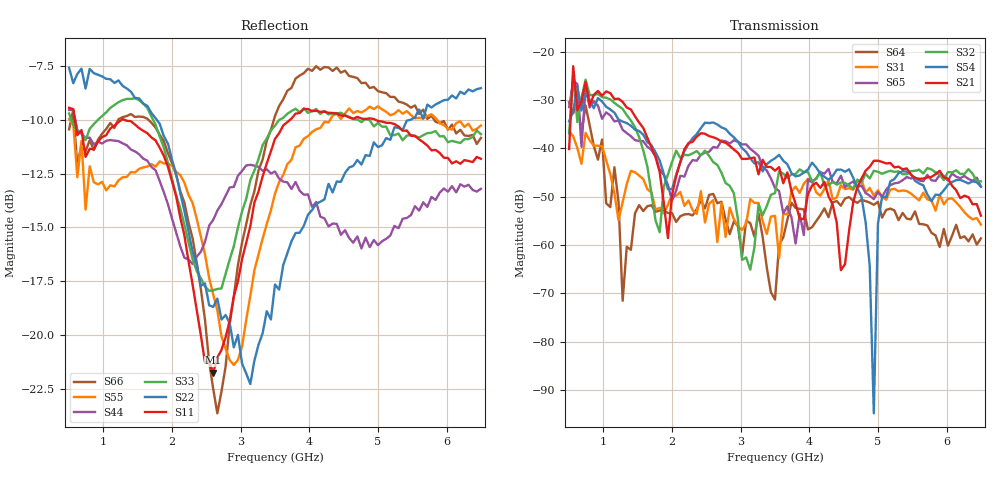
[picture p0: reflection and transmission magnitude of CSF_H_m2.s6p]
!Keysight Technologies,M9804A,MY58100912,A.14.10.03
!Date: Thursday, April 27, 2023 10:28:33
!Correction: S11(C  6-Port  )
!S12(C  6-Port  )
!S13(C  6-Port  )
!S14(C  6-Port  )
!S15(C  6-Port  )
!S16(C  6-Port  )
!S21(C  6-Port  )
!S22(C  6-Port  )
!S23(C  6-Port  )
!S24(C  6-Port  )
!S25(C  6-Port  )
!S26(C  6-Port  )
!S31(C  6-Port  )
!S32(C  6-Port  )
!S33(C  6-Port  )
!S34(C  6-Port  )
!S35(C  6-Port  )
!S36(C  6-Port  )
!S41(C  6-Port  )
!S42(C  6-Port  )
!S43(C  6-Port  )
!S44(C  6-Port  )
!S45(C  6-Port  )
!S46(C  6-Port  )
!S51(C  6-Port  )
!S52(C  6-Port  )
!S53(C  6-Port  )
!S54(C  6-Port  )
!S55(C  6-Port  )
!S56(C  6-Port  )
!S61(C  6-Port  )
!S62(C  6-Port  )
!S63(C  6-Port  )
!S64(C  6-Port  )
!S65(C  6-Port  )
!S66(C  6-Port  )
!S6P File: Measurement: :
# Hz S  RI  R 50
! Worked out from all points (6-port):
!   101 points, 500 MHz to 6.5 GHz, reference 50 ohm
!   strongest paths, dB at 500 MHz, 2 GHz, 3.5 GHz, 5 GHz, 6.5 GHz:
!     S21: -40.2, -49.6, -44.6, -42.6, -53.9
!     S54: -34.4, -48.5, -42.1, -55.6, -47.9
!     S32: -36.9, -42.8, -49.3, -44.8, -46.8
!     S65: -31.5, -50.8, -48.2, -49.0, -47.9
!     S31: -36.5, -49.5, -54.0, -48.7, -55.8
!     S64: -30.5, -53.4, -71.3, -51.1, -58.6
!   lowest |S11| = -21.8 dB at 2.6 GHz (marker M1), VSWR 1.18, Z = 42.7 + j1.95 ohm
!   |S11| at or under -10 dB: 584.4 MHz to 1.267 GHz (682.9 MHz wide, 73.8 % of centre); 1.303 GHz to 3.721 GHz (2.418 GHz wide, 96.3 % of centre); 4.961 GHz to end of sweep
